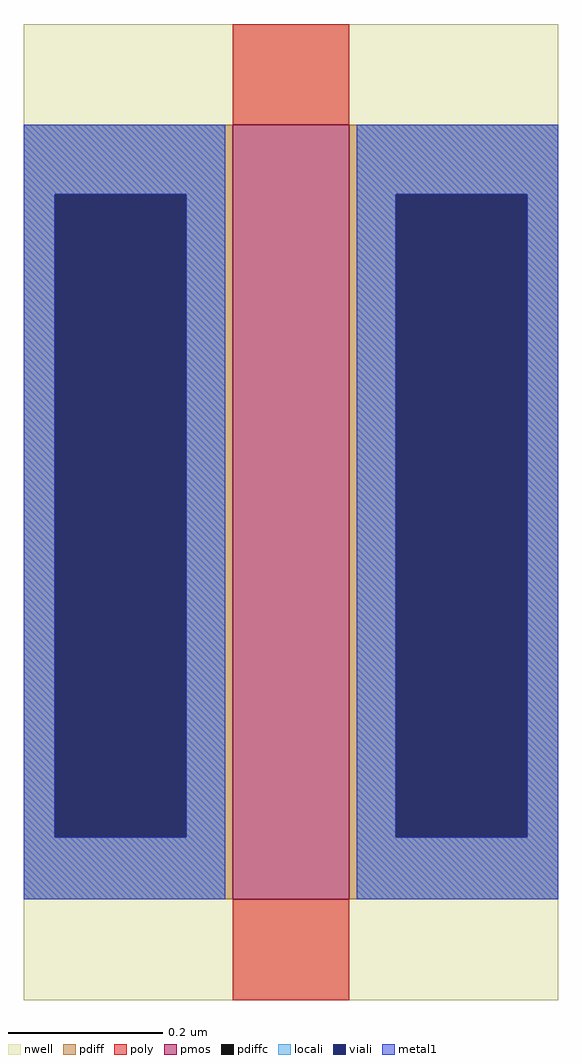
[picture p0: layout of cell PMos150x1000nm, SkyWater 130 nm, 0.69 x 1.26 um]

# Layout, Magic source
magic
tech sky130A
<< nwell >>
rect -25 -15 44 111
<< pmos >>
rect 2 -2 17 98
<< pdiff >>
rect -25 89 2 98
rect -25 6 -21 89
rect -4 6 2 89
rect -25 -2 2 6
rect 17 89 44 98
rect 17 6 23 89
rect 40 6 44 89
rect 17 -2 44 6
<< pdiffc >>
rect -21 6 -4 89
rect 23 6 40 89
<< poly >>
rect 2 98 17 111
rect 2 -15 17 -2
<< locali >>
rect -25 89 1 98
rect -25 6 -21 89
rect -4 6 1 89
rect -25 -2 1 6
rect 18 89 44 98
rect 18 6 23 89
rect 40 6 44 89
rect 18 -2 44 6
<< viali >>
rect -21 6 -4 89
rect 23 6 40 89
<< metal1 >>
rect -25 89 1 98
rect -25 6 -21 89
rect -4 6 1 89
rect -25 -2 1 6
rect 18 89 44 98
rect 18 6 23 89
rect 40 6 44 89
rect 18 -2 44 6
<< end >>
